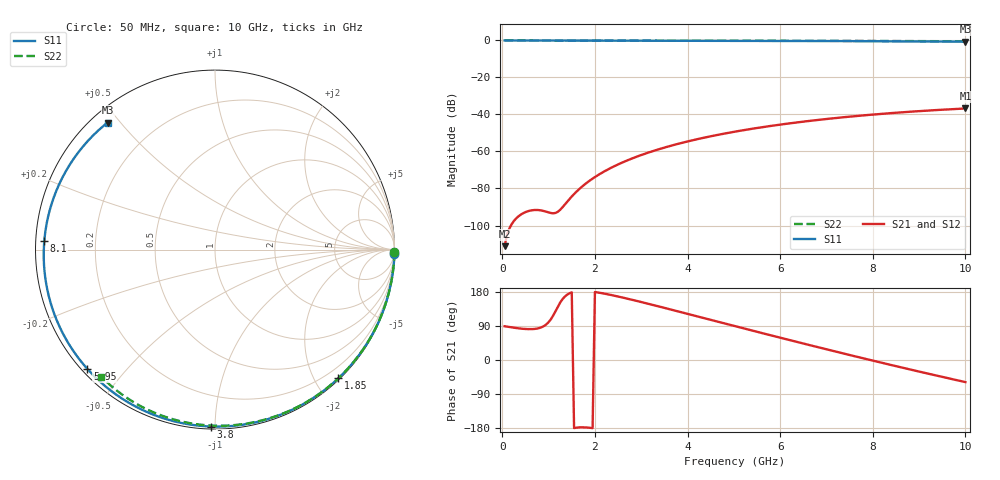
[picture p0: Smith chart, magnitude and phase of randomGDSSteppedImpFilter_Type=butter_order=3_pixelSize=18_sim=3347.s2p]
! freq	dB(S11)	phase(S11)	dB(S12)	phase(S12)
!  dB(S21)	phase(S21)	dB(S22)	phase(S22)
!S-par simulation data
#  GHz  S  DB  R 50
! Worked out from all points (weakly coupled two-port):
!   200 points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, 50 MHz to 10 GHz, reference 50 ohm
!   highest |S21| = -36.76 dB at 10 GHz (marker M1); lowest = -111.2 dB at 50 MHz (marker M2)
!   lowest |S11| = -0.7 dB at 10 GHz (marker M3), VSWR 26.37, Z = 2.3 + j23.2 ohm
!   |S11| at or under -10 dB: nowhere
!   |S22| runs from -0.4 to 0.0 dB; largest |S21 - S12| = 0
!   S11 on the Smith chart (normalised r, x): 50 MHz: 0, -89; 1.85 GHz: 0.02, -2.34; 3.8 GHz: 0.01, -0.98; 5.95 GHz: 0.02, -0.39; 8.1 GHz: 0.02, +0.03; 10 GHz: 0.05, +0.46
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0.05  -0.00 -1.3  -111.17 89.1  -111.17 89.1  -0.00 -0.8
0.8  -0.03 -20.3  -91.71 84.4  -91.71 84.4  -0.02 -12.1
1.2  -0.04 -30.3  -92.57 140.7  -92.57 140.7  -0.02 -18.1
1.65  -0.05 -41.4  -80.56 -177.9  -80.56 -177.9  -0.03 -24.8
1.75  -0.06 -43.8  -78.39 -177.7  -78.39 -177.7  -0.03 -26.3
1.85  -0.06 -46.2  -76.43 -178.4  -76.43 -178.4  -0.04 -27.7
2.15  -0.07 -53.4  -71.51 176.4  -71.51 176.4  -0.04 -32.1
2.5  -0.08 -61.7  -66.99 167.6  -66.99 167.6  -0.05 -37.2
2.9  -0.09 -71.0  -62.83 156.0  -62.83 156.0  -0.06 -43.0
3.4  -0.11 -82.3  -58.64 140.7  -58.64 140.7  -0.07 -50.0
3.8  -0.12 -91.2  -55.84 128.1  -55.84 128.1  -0.08 -55.6
4.4  -0.15 -104.3  -52.31 109.1  -52.31 109.1  -0.09 -63.8
5.05  -0.18 -118.1  -49.17 88.6  -49.17 88.6  -0.11 -72.4
5.95  -0.23 -136.9  -45.65 60.4  -45.65 60.4  -0.14 -84.0
6.7  -0.29 -152.6  -43.28 37.3  -43.28 37.3  -0.18 -93.3
7.4  -0.35 -167.5  -41.42 16.2  -41.42 16.2  -0.22 -101.8
8.1  -0.42 177.1  -39.85 -4.6  -39.85 -4.6  -0.27 -110.0
8.35  -0.45 171.4  -39.35 -11.9  -39.35 -11.9  -0.29 -112.9
8.8  -0.51 160.8  -38.53 -24.8  -38.53 -24.8  -0.33 -118.1
9.2  -0.56 151.1  -37.87 -36.2  -37.87 -36.2  -0.36 -122.7
9.6  -0.61 140.9  -37.29 -47.3  -37.29 -47.3  -0.40 -127.3
10  -0.66 130.2  -36.76 -58.3  -36.76 -58.3  -0.45 -131.8
